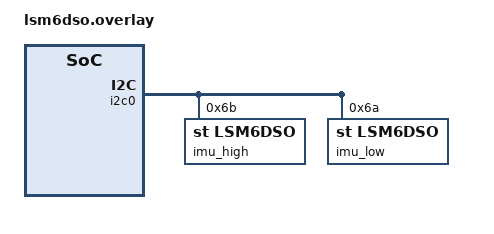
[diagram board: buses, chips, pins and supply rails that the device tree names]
/* SparkFun SEN-18020. XIAO D4=GPIO5 SDA, D5=GPIO6 SCL. */
#include <zephyr/dt-bindings/sensor/lsm6dso.h>

&i2c0 {
	imu_high: lsm6dso@6b {
		compatible = "st,lsm6dso";
		reg = <0x6b>;
		zephyr,deferred-init;
		accel-range = <LSM6DSO_DT_FS_4G>;
		accel-odr = <LSM6DSO_DT_ODR_52Hz>;
		gyro-range = <LSM6DSO_DT_FS_250DPS>;
		gyro-odr = <LSM6DSO_DT_ODR_52Hz>;
	};
	imu_low: lsm6dso@6a {
		compatible = "st,lsm6dso";
		reg = <0x6a>;
		zephyr,deferred-init;
		accel-range = <LSM6DSO_DT_FS_4G>;
		accel-odr = <LSM6DSO_DT_ODR_52Hz>;
		gyro-range = <LSM6DSO_DT_FS_250DPS>;
		gyro-odr = <LSM6DSO_DT_ODR_52Hz>;
	};
};
